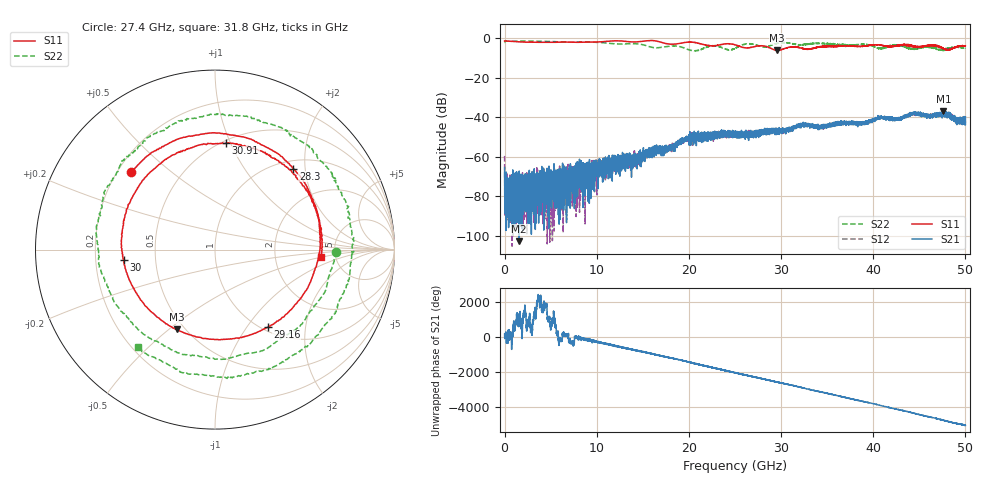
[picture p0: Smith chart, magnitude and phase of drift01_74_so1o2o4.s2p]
!Created with skrf (http://scikit-rf.org).
# Hz S RI R 50.0
!freq ReS11 ImS11 ReS21 ImS21 ReS12 ImS12 ReS22 ImS22
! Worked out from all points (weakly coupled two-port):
!   10001 points, 300 kHz to 50 GHz, reference 50 ohm
!   highest |S21| = -36.77 dB at 47.61 GHz (marker M1); lowest = -102.8 dB at 1.575 GHz (marker M2)
!   lowest |S11| = -6.2 dB at 29.58 GHz (marker M3), VSWR 2.94, Z = 22.7 - j26.5 ohm
!   |S11| at or under -10 dB: nowhere
!   |S22| runs from -6.4 to -1.3 dB; largest |S21 - S12| = 0.0039
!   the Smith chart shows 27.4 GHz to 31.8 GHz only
!   S11 on the Smith chart (normalised r, x): 27.4 GHz: 0.26, +0.37; 28.3 GHz: 1.16, +1.73; 29.16 GHz: 1.06, -1.26; 30 GHz: 0.32, -0.05; 30.91 GHz: 0.52, +0.96; 31.8 GHz: 3.84, -0.50
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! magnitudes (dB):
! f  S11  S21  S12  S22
! 300 kHz  -1.3  -65.4  -59.5  -2.1
! 260.3 MHz  -1.4  -80.1  -75.3  -1.4
! 1.575 GHz  -1.8  -102.8  -84.3  -1.4
! 3.06 GHz  -2.0  -76.1  -74.7  -1.4
! 6.445 GHz  -1.9  -68.8  -74.2  -1.9
! 7.525 GHz  -2.0  -70.6  -76.2  -1.8
! 8.335 GHz  -2.0  -67.1  -66.8  -1.8
! 16.67 GHz  -1.6  -57.2  -57.9  -4.7
! 20.67 GHz  -2.1  -50.4  -48.7  -6.3
! 22.62 GHz  -3.8  -50.1  -48.6  -3.8
! 25 GHz  -3.3  -47.0  -49.4  -5.0
! 27.4 GHz  -4.0  -47.6  -48.4  -3.4
! 28.3 GHz  -4.0  -46.3  -46.0  -4.3
! 29.16 GHz  -5.6  -47.0  -46.2  -3.1
! 29.58 GHz  -6.2  -46.4  -47.8  -2.6
! 30 GHz  -5.8  -46.4  -47.9  -2.2
! 30.91 GHz  -4.5  -45.1  -46.4  -2.5
! 31.8 GHz  -4.5  -43.8  -44.0  -3.2
! 33.34 GHz  -5.2  -44.7  -44.3  -2.7
! 41.67 GHz  -4.3  -40.1  -40.5  -3.8
! 47.61 GHz  -5.1  -36.8  -38.8  -6.1
! 50 GHz  -3.8  -39.8  -42.7  -5.2
